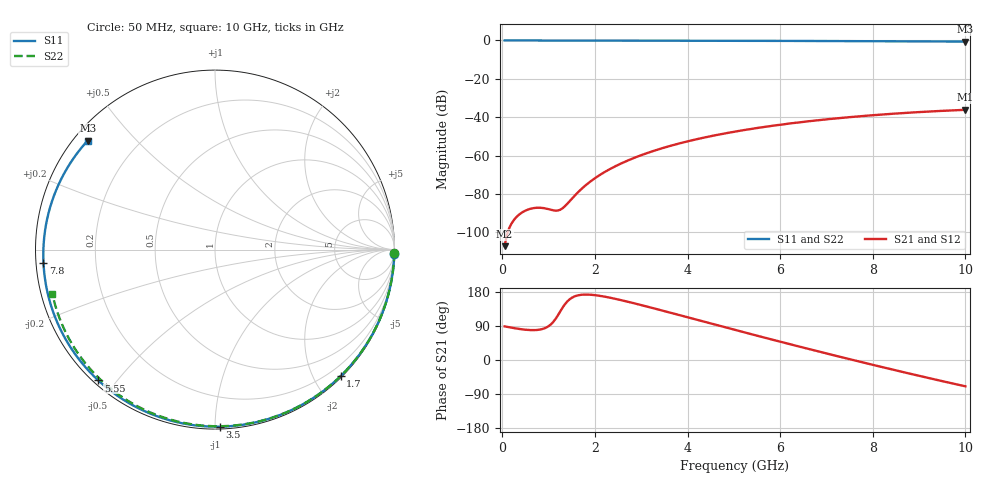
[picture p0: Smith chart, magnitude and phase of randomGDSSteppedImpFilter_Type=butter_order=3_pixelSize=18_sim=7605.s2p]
! freq	dB(S11)	phase(S11)	dB(S12)	phase(S12)
!  dB(S21)	phase(S21)	dB(S22)	phase(S22)
!S-par simulation data
#  GHz  S  DB  R 50
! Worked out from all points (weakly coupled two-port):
!   200 points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, 50 MHz to 10 GHz, reference 50 ohm
!   highest |S21| = -36.14 dB at 10 GHz (marker M1); lowest = -107.2 dB at 50 MHz (marker M2)
!   lowest |S11| = -0.6 dB at 10 GHz (marker M3), VSWR 29.21, Z = 1.95 + j18.5 ohm
!   |S11| at or under -10 dB: nowhere
!   |S22| runs from -0.5 to 0.0 dB; largest |S21 - S12| = 0
!   S11 on the Smith chart (normalised r, x): 50 MHz: 2, -87; 1.7 GHz: 0.02, -2.40; 3.5 GHz: 0.01, -1.03; 5.55 GHz: 0.01, -0.45; 7.8 GHz: 0.02, -0.04; 10 GHz: 0.04, +0.37
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0.05  -0.00 -1.3  -107.18 88.8  -107.18 88.8  -0.00 -0.9
0.45  -0.02 -12.2  -89.28 80.6  -89.28 80.6  -0.01 -8.6
0.8  -0.03 -21.6  -87.15 80.0  -87.15 80.0  -0.02 -15.2
1.2  -0.04 -32.2  -88.60 117.7  -88.60 117.7  -0.03 -22.8
1.6  -0.05 -42.6  -79.94 169.5  -79.94 169.5  -0.04 -30.2
1.7  -0.06 -45.2  -77.58 172.0  -77.58 172.0  -0.04 -32.0
1.75  -0.06 -46.5  -76.49 172.5  -76.49 172.5  -0.04 -33.0
2.05  -0.07 -54.0  -70.97 170.3  -70.97 170.3  -0.05 -38.5
2.45  -0.08 -63.9  -65.44 161.2  -65.44 161.2  -0.06 -45.7
2.9  -0.09 -74.7  -60.68 148.0  -60.68 148.0  -0.07 -53.7
3.4  -0.11 -86.3  -56.53 132.2  -56.53 132.2  -0.08 -62.4
3.5  -0.11 -88.5  -55.81 129.0  -55.81 129.0  -0.09 -64.1
4.25  -0.14 -105.0  -51.17 104.6  -51.17 104.6  -0.11 -76.8
5.05  -0.18 -121.7  -47.38 78.6  -47.38 78.6  -0.14 -89.8
5.55  -0.20 -131.7  -45.44 62.6  -45.44 62.6  -0.16 -97.7
6.15  -0.24 -143.6  -43.44 43.6  -43.44 43.6  -0.19 -107.0
6.7  -0.28 -154.2  -41.87 26.5  -41.87 26.5  -0.22 -115.4
7.25  -0.32 -164.8  -40.52 9.7  -40.52 9.7  -0.26 -123.6
7.8  -0.37 -175.5  -39.34 -6.8  -39.34 -6.8  -0.31 -131.8
8.35  -0.42 173.7  -38.33 -23.0  -38.33 -23.0  -0.36 -139.9
9.2  -0.51 156.5  -37.05 -47.4  -37.05 -47.4  -0.45 -152.6
10  -0.59 139.4  -36.14 -69.5  -36.14 -69.5  -0.54 -164.7
